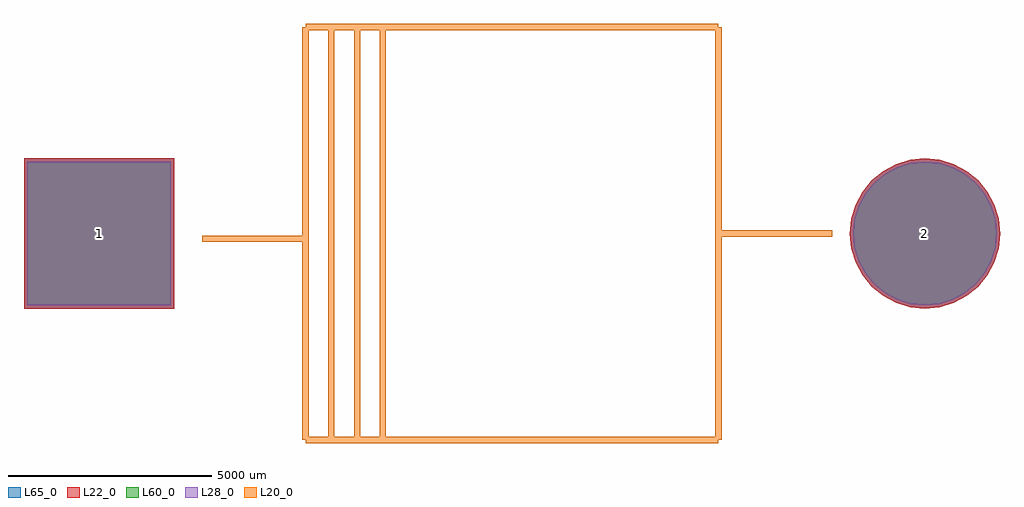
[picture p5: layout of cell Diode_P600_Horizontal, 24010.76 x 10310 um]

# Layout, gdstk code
import gdstk
lib = gdstk.Library(unit=1e-6, precision=1e-09)
def R(c, l, rs):  # rectangles x0, y0, x1, y1
    for r in rs: c.add(gdstk.rectangle(r[:2], r[2:], *l))
def P(c, l, *ps):  # polygons
    for p in ps: c.add(gdstk.Polygon(p, *l))
L20_0 = (20, 0)
L22_0 = (22, 0)
L28_0 = (28, 0)
L60_0 = (60, 0)
L65_0 = (65, 0)

diode_p600_horizontal = lib.new_cell('Diode_P600_Horizontal')
R(diode_p600_horizontal, L22_0, [(-1845.38,-1842.84,1845.38,1847.92)])
P(diode_p600_horizontal, L22_0, [(22165.38,2.54),(22129.922,362.556),(22024.909,708.736),(21854.377,1027.778),(21624.881,1307.421),(21345.238,1536.917),(21026.196,1707.449),(20680.016,1812.462),(20320,1847.92),(19959.984,1812.462),(19613.804,1707.449),(19294.762,1536.917),(19015.119,1307.421),(18785.623,1027.778),(18615.091,708.736),(18510.078,362.556),(18474.62,2.54),(18510.078,-357.476),(18615.091,-703.656),(18785.623,-1022.698),(19015.119,-1302.341),(19294.762,-1531.837),(19613.804,-1702.369),(19959.984,-1807.382),(20320,-1842.84),(20680.016,-1807.382),(21026.196,-1702.369),(21345.238,-1531.837),(21624.881,-1302.341),(21854.377,-1022.698),(22024.909,-703.656),(22129.922,-357.476)])
R(diode_p600_horizontal, L28_0, [(-1770.38,-1767.84,1770.38,1772.92)])
P(diode_p600_horizontal, L28_0, [(22090.38,2.54),(22056.363,347.924),(21955.618,680.035),(21792.017,986.11),(21571.848,1254.388),(21303.57,1474.557),(20997.495,1638.158),(20665.384,1738.903),(20320,1772.92),(19974.616,1738.903),(19642.505,1638.158),(19336.43,1474.557),(19068.152,1254.388),(18847.983,986.11),(18684.382,680.035),(18583.637,347.924),(18549.62,2.54),(18583.637,-342.844),(18684.382,-674.955),(18847.983,-981.03),(19068.152,-1249.308),(19336.43,-1469.477),(19642.505,-1633.078),(19974.616,-1733.823),(20320,-1767.84),(20665.384,-1733.823),(20997.495,-1633.078),(21303.57,-1469.477),(21571.848,-1249.308),(21792.017,-981.03),(21955.618,-674.955),(22056.363,-342.844)])
R(diode_p600_horizontal, L60_0, [(-1770.38,-1767.84,1770.38,1772.92)])
P(diode_p600_horizontal, L60_0, [(22090.38,2.54),(22056.363,347.924),(21955.618,680.035),(21792.017,986.11),(21571.848,1254.388),(21303.57,1474.557),(20997.495,1638.158),(20665.384,1738.903),(20320,1772.92),(19974.616,1738.903),(19642.505,1638.158),(19336.43,1474.557),(19068.152,1254.388),(18847.983,986.11),(18684.382,680.035),(18583.637,347.924),(18549.62,2.54),(18583.637,-342.844),(18684.382,-674.955),(18847.983,-981.03),(19068.152,-1249.308),(19336.43,-1469.477),(19642.505,-1633.078),(19974.616,-1733.823),(20320,-1767.84),(20665.384,-1733.823),(20997.495,-1633.078),(21303.57,-1469.477),(21571.848,-1249.308),(21792.017,-981.03),(21955.618,-674.955),(22056.363,-342.844)])
R(diode_p600_horizontal, L65_0, [(-1845.38,-1842.84,1845.38,1847.92)])
P(diode_p600_horizontal, L65_0, [(22165.38,2.54),(22129.922,362.556),(22024.909,708.736),(21854.377,1027.778),(21624.881,1307.421),(21345.238,1536.917),(21026.196,1707.449),(20680.016,1812.462),(20320,1847.92),(19959.984,1812.462),(19613.804,1707.449),(19294.762,1536.917),(19015.119,1307.421),(18785.623,1027.778),(18615.091,708.736),(18510.078,362.556),(18474.62,2.54),(18510.078,-357.476),(18615.091,-703.656),(18785.623,-1022.698),(19015.119,-1302.341),(19294.762,-1531.837),(19613.804,-1702.369),(19959.984,-1807.382),(20320,-1842.84),(20680.016,-1807.382),(21026.196,-1702.369),(21345.238,-1531.837),(21624.881,-1302.341),(21854.377,-1022.698),(22024.909,-703.656),(22129.922,-357.476)])
diode_p600_horizontal.add(gdstk.FlexPath([(5080,5082.54),(5080,-5077.46)], 149.998, ends="flush", simple_path=True, layer=20, datatype=0))  # L20_0
diode_p600_horizontal.add(gdstk.FlexPath([(15240,5082.54),(15240,-5077.46)], 149.998, ends="flush", simple_path=True, layer=20, datatype=0))  # L20_0
diode_p600_horizontal.add(gdstk.FlexPath([(5715,5082.54),(5715,-5077.46)], 149.998, ends="flush", simple_path=True, layer=20, datatype=0))  # L20_0
diode_p600_horizontal.add(gdstk.FlexPath([(6350,5082.54),(6350,-5077.46)], 149.998, ends="flush", simple_path=True, layer=20, datatype=0))  # L20_0
diode_p600_horizontal.add(gdstk.FlexPath([(6985,5082.54),(6985,-5077.46)], 149.998, ends="flush", simple_path=True, layer=20, datatype=0))  # L20_0
diode_p600_horizontal.add(gdstk.FlexPath([(15240,5082.54),(5080,5082.54)], 149.998, ends="flush", simple_path=True, layer=20, datatype=0))  # L20_0
diode_p600_horizontal.add(gdstk.FlexPath([(15240,-5077.46),(5080,-5077.46)], 149.998, ends="flush", simple_path=True, layer=20, datatype=0))  # L20_0
diode_p600_horizontal.add(gdstk.FlexPath([(5080,-124.46),(2540,-124.46)], 149.998, ends="flush", simple_path=True, layer=20, datatype=0))  # L20_0
diode_p600_horizontal.add(gdstk.FlexPath([(15240,2.54),(18034,2.54)], 149.998, ends="flush", simple_path=True, layer=20, datatype=0))  # L20_0
diode_p600_horizontal.add(gdstk.Label('1', (0,2.54), layer=28, texttype=0))
diode_p600_horizontal.add(gdstk.Label('2', (20320,2.54), layer=28, texttype=0))
diode_p600_horizontal.add(gdstk.Label('type', (10962.64,9527.54), layer=9, texttype=0))
diode_p600_horizontal.add(gdstk.Label('devicename', (10327.64,-9522.46), layer=9, texttype=0))

lib.write_gds('Diode_P600_Horizontal.gds')
